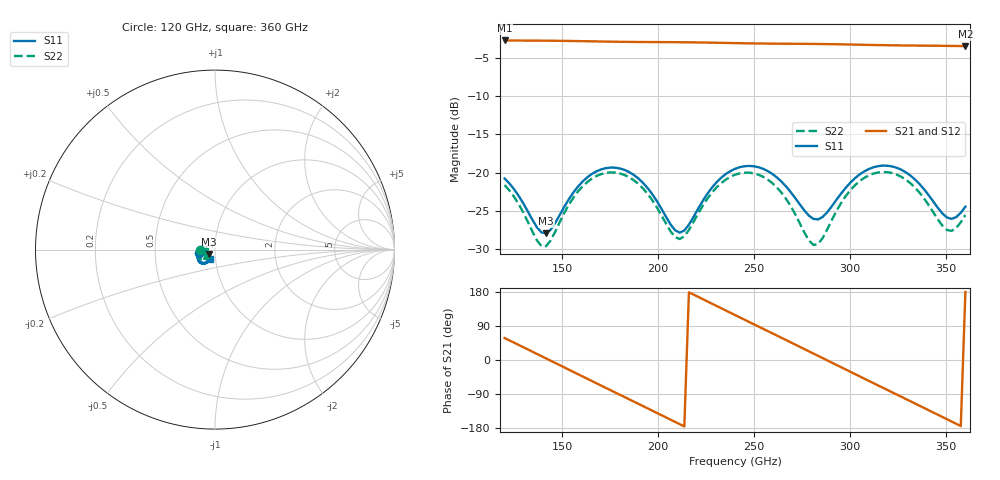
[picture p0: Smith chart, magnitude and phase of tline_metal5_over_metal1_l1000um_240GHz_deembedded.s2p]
! Created with skrf 2.0.1 (http://scikit-rf.org).
# GHz S DB R 50.0
!freq dBS11 angS11 dBS21 angS21 dBS12 angS12 dBS22 angS22
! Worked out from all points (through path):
!   101 points, 120 GHz to 360 GHz, reference 50 ohm
!   highest |S21| = -2.75 dB at 120 GHz (marker M1); lowest = -3.5 dB at 360 GHz (marker M2)
!   group delay of S21, straight-line fit = 6.92 ps
!   lowest |S11| = -27.9 dB at 141.6 GHz (marker M3), VSWR 1.08, Z = 46.8 - j2.21 ohm
!   |S11| at or under -10 dB: start of sweep to end of sweep
!   |S22| runs from -29.6 to -19.9 dB; largest |S21 - S12| = 8e-14
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120  -20.77 -167.1  -2.75 57.9  -2.75 57.9  -21.62 -177.8
132  -25.02 -172.7  -2.76 28.1  -2.76 28.1  -26.37 175.2
141.6  -27.93 -143.9  -2.78 4.2  -2.78 4.2  -29.61 -150.6
151.2  -24.41 -120.4  -2.80 -19.9  -2.80 -19.9  -25.21 -127.2
160.8  -21.13 -125.3  -2.84 -43.9  -2.84 -43.9  -21.75 -134.8
170.4  -19.57 -138.7  -2.88 -67.8  -2.88 -67.8  -20.19 -150.1
180  -19.46 -153.8  -2.92 -91.6  -2.92 -91.6  -20.11 -166.7
189.6  -20.75 -167.4  -2.95 -115.5  -2.95 -115.5  -21.46 178.3
201.6  -24.68 -173.0  -2.96 -145.3  -2.96 -145.3  -25.54 171.5
211.2  -27.84 -146.8  -2.98 -169.3  -2.98 -169.3  -28.68 -161.8
220.8  -24.72 -119.7  -3.01 166.6  -3.01 166.6  -25.34 -136.6
240  -19.51 -134.0  -3.09 118.7  -3.09 118.7  -20.28 -154.9
249.6  -19.17 -147.9  -3.13 94.8  -3.13 94.8  -20.09 -170.8
259.2  -20.13 -160.6  -3.16 71.0  -3.16 71.0  -21.32 174.2
280.8  -26.04 -149.8  -3.20 17.2  -3.20 17.2  -29.45 -169.6
290.4  -24.40 -124.9  -3.23 -6.9  -3.23 -6.9  -26.20 -136.6
300  -21.33 -122.9  -3.28 -30.9  -3.28 -30.9  -22.32 -139.2
312  -19.32 -135.4  -3.34 -60.8  -3.34 -60.8  -20.14 -156.1
321.6  -19.19 -148.2  -3.38 -84.6  -3.38 -84.6  -20.05 -171.5
336  -21.46 -163.0  -3.42 -120.4  -3.42 -120.4  -22.58 170.4
350.4  -25.86 -147.5  -3.45 -156.3  -3.45 -156.3  -27.50 -173.2
360  -24.46 -120.1  -3.49 179.7  -3.49 179.7  -25.54 -145.0
